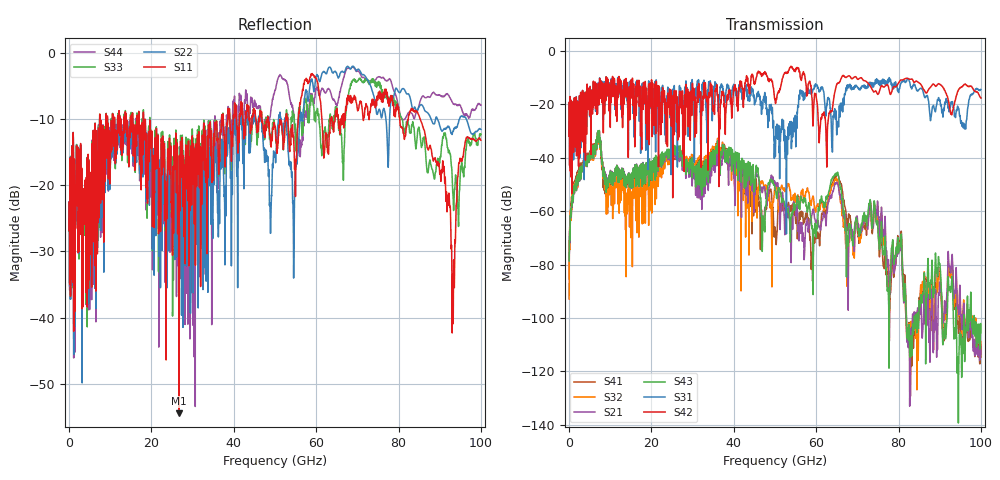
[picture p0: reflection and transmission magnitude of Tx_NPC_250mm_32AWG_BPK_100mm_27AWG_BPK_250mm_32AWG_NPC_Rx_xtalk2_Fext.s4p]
! Info: Touchstone file created by Circ.  Input file=Tx_NPC_250mm_32AWG_BPK_100mm_27AWG_BPK_250mm_32AWG_NPC_Rx.circ
# Hz S RI R 50
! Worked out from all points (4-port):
!   10000 points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, 10 MHz to 100 GHz, reference 50 ohm
!   strongest paths, dB at 10 MHz, 25.01 GHz, 50.01 GHz, 75.01 GHz, 100 GHz:
!     S42: -32.0, -21.9, -18.4, -16.3, -17.6
!     S31: -31.9, -23.5, -32.5, -11.0, -14.4
!     S43: -78.6, -36.3, -51.6, -66.1, -105.6
!     S21: -78.6, -37.1, -50.1, -58.5, -113.4
!     S32: -92.9, -37.4, -50.7, -60.3, -111.9
!     S41: -85.2, -38.1, -66.1, -66.0, -114.6
!   lowest |S11| = -54.4 dB at 26.66 GHz (marker M1), VSWR 1.00, Z = 50 - j0.188 ohm
!   |S11| at or under -10 dB: start of sweep to 7.421 GHz; 18.1 GHz to 37.04 GHz (18.94 GHz wide, 68.7 % of centre); 85.24 GHz to end of sweep (the widest 3 of 48)
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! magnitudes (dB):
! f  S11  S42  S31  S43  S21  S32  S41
! 10 MHz  -26.8  -32.0  -31.9  -78.6  -78.6  -92.9  -85.2
! 6.93 GHz  -16.8  -17.0  -15.8  -30.9  -31.0  -31.1  -31.0
! 14.95 GHz  -9.7  -11.3  -11.1  -51.1  -50.7  -63.0  -50.6
! 26.66 GHz  -54.4  -26.8  -20.8  -35.8  -37.6  -35.9  -37.2
! 76.79 GHz  -6.3  -13.1  -11.3  -72.0  -64.2  -68.2  -75.5
! 93.25 GHz  -39.3  -21.8  -21.0  -94.2  -84.1  -87.0  -87.3
! 100 GHz  -13.2  -17.6  -14.4  -105.6  -113.4  -111.9  -114.6
